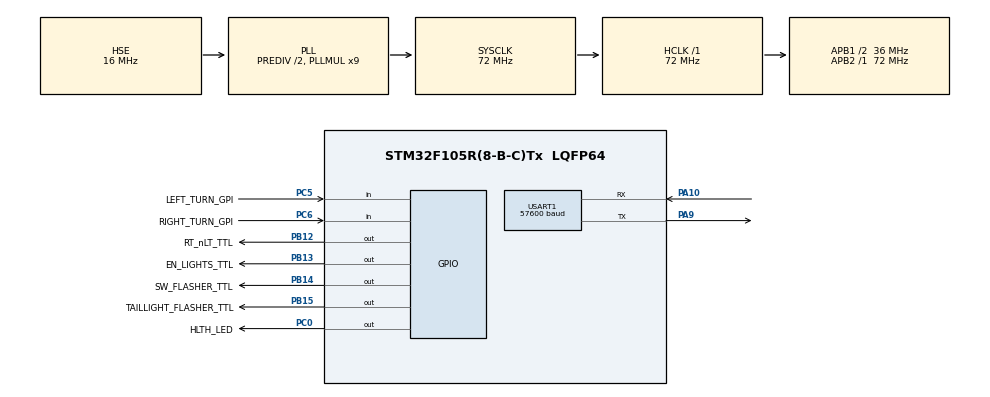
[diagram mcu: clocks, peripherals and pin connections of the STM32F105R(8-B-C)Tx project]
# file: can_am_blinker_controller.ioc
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IWDG.Prescaler=IWDG_PRESCALER_32
IWDG.Reload=1499
Mcu.Family=STM32F1
Mcu.Name=STM32F105R(8-B-C)Tx
Mcu.Package=LQFP64
NVIC.PriorityGroup=NVIC_PRIORITYGROUP_4
NVIC.TIM6_IRQn=true\:0\:0\:false\:false\:true\:true\:true\:true
NVIC.USART1_IRQn=true\:0\:0\:false\:false\:true\:true\:true\:true
PA10.Mode=Asynchronous
PA10.Signal=USART1_RX
PA13.Mode=Trace_Asynchronous_SW
PA13.Signal=SYS_JTMS-SWDIO
PA14.Mode=Trace_Asynchronous_SW
PA14.Signal=SYS_JTCK-SWCLK
PA9.Mode=Asynchronous
PA9.Signal=USART1_TX
PB12.GPIO_Label=RT_nLT_TTL
PB12.Signal=GPIO_Output
PB13.GPIO_Label=EN_LIGHTS_TTL
PB13.Signal=GPIO_Output
PB14.GPIO_Label=SW_FLASHER_TTL
PB14.Signal=GPIO_Output
PB15.GPIO_Label=TAILLIGHT_FLASHER_TTL
PB15.Signal=GPIO_Output
PB3.Mode=Trace_Asynchronous_SW
PB3.Signal=SYS_TRACESWO
PC0.GPIO_Label=HLTH_LED
PC0.Signal=GPIO_Output
PC5.GPIO_Label=LEFT_TURN_GPI
PC5.GPIO_PuPd=GPIO_NOPULL
PC5.Signal=GPIO_Input
PC6.GPIO_Label=RIGHT_TURN_GPI
PC6.GPIO_PuPd=GPIO_NOPULL
PC6.Signal=GPIO_Input
PD0-OSC_IN.GPIO_Label=OSC_IN
PD0-OSC_IN.Mode=HSE-External-Oscillator
PD0-OSC_IN.Signal=RCC_OSC_IN
PD1-OSC_OUT.GPIO_Label=OSC_OUT
PD1-OSC_OUT.Mode=HSE-External-Oscillator
PD1-OSC_OUT.Signal=RCC_OSC_OUT
ProjectManager.HeapSize=0x200
ProjectManager.StackSize=0x400
ProjectManager.TargetToolchain=STM32CubeIDE
RCC.AHBFreq_Value=72000000
RCC.APB1CLKDivider=RCC_HCLK_DIV2
RCC.APB1Freq_Value=36000000
RCC.APB1TimFreq_Value=72000000
RCC.APB2Freq_Value=72000000
RCC.APB2TimFreq_Value=72000000
RCC.HCLKFreq_Value=72000000
RCC.HSEDivPLL=RCC_HSE_PREDIV_DIV2
RCC.HSE_VALUE=16000000
RCC.PLLMUL=RCC_PLL_MUL9
RCC.PLLSourceVirtual=RCC_PLLSOURCE_HSE
RCC.SYSCLKFreq_VALUE=72000000
RCC.SYSCLKSource=RCC_SYSCLKSOURCE_PLLCLK
RCC.USBFreq_Value=48000000
TIM6.AutoReloadPreload=TIM_AUTORELOAD_PRELOAD_ENABLE
TIM6.Period=10000-1
TIM6.Prescaler=72-1
USART1.BaudRate=57600
USART1.VirtualMode=VM_ASYNC
VP_IWDG_VS_IWDG.Mode=IWDG_Activate
VP_TIM1_VS_ClockSourceINT.Mode=Internal
VP_TIM6_VS_ClockSourceINT.Mode=Enable_Timer
board=custom

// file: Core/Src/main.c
/* USER CODE BEGIN Header */
/**
  ******************************************************************************
  * @file           : main.c
  * @brief          : Main program body
  ******************************************************************************
  * @attention
  *
  * <h2><center>&copy; Copyright (c) 2024 STMicroelectronics.
  * All rights reserved.</center></h2>
  *
  * This software component is licensed by ST under BSD 3-Clause license,
  * the "License"; You may not use this file except in compliance with the
  * License. You may obtain a copy of the License at:
  *                        opensource.org/licenses/BSD-3-Clause
  *
  * //TODO: need to set the watchdog back to a normal value
  * //TODO: need to make sure the BAUD rate is set back to 57600
  ******************************************************************************
  */
/* USER CODE END Header */
#include "main.h"

/* USER CODE BEGIN Includes */
#include "main.h"

/* USER CODE END Includes */

/* USER CODE BEGIN PTD */
uart_type        uart;
timing_type      tim;
button_state     but;

/* Initialize STATE properties */
state blinker_state = IDLE;

/* USER CODE END PTD */

IWDG_HandleTypeDef hiwdg;

TIM_HandleTypeDef htim1;
TIM_HandleTypeDef htim6;

UART_HandleTypeDef huart1;

void SystemClock_Config(void);
static void MX_GPIO_Init(void);
static void MX_TIM1_Init(void);
static void MX_TIM6_Init(void);
static void MX_USART1_UART_Init(void);
static void MX_IWDG_Init(void);

int main(void)
{

  /* MCU Configuration--------------------------------------------------------*/

  /* Reset of all peripherals, Initializes the Flash interface and the Systick. */
  HAL_Init();

  /* Configure the system clock */
  SystemClock_Config();

  /* USER CODE BEGIN SysInit */
  /* Initialize UART properties */
  uart.errorflag      = false;
  uart.validmsg       = false;
  uart.msg_state      = STATESTART;
  uart.len_verify     = 0;                        // Initialize length verify counter to 0
  uart.producer_index = 0;                        // Initialize consumer index
  uart.consumer_index = 0;                        // Initialize producer index
  uart.inmenu         = false;                    // Will not start out in console menu

  /* USER CODE END SysInit */

  /* Initialize all configured peripherals */
  MX_GPIO_Init();
  MX_TIM1_Init();
  MX_TIM6_Init();
  MX_USART1_UART_Init();
  MX_IWDG_Init();
  /* USER CODE BEGIN 2 */

  init_timer ();
  HAL_TIM_Base_Start_IT(&htim6);
  HAL_UART_Receive_IT(&huart1, &uart.rxchar, 1); //Needed for interrupt callback.

  /* USER CODE END 2 */

  /* Infinite loop */
  /* USER CODE BEGIN WHILE */
  while (1)
  {

    /**
     * Message handling
     */
    if (uart.byte_counter >= MAX_RX_BUF_INDEX)
    {
      ResetRxBuffer(& uart);                        //Something went wrong, reset the RX buffer.
    }
    else if(uart.consumer_index != uart.producer_index)
    {
      HandleByte(& uart);
    }

    if(tim.flag_10ms_tick)
    {
      tim.flag_10ms_tick = false;
      check_button_states();
    }

    if(tim.flag_100ms_tick)
    {
    	HAL_IWDG_Refresh(&hiwdg);  // Refresh the watchdog.

      tim.flag_100ms_tick = false;

      /**
       * We haven't hit the max "quick flash" count total
       * but we are turning
       **/

      if(but.quick_flash_counts < MAX_NUM_OF_QUICK_FLASHES &&
        blinker_state != IDLE)
      {
        HAL_GPIO_TogglePin(TAILLIGHT_FLASHER_TTL_GPIO_Port, TAILLIGHT_FLASHER_TTL_Pin);
        but.quick_flash_counts++;
      }

    }

    if(tim.flag_500ms_tick)
    {
      tim.flag_500ms_tick = false;
      HAL_GPIO_TogglePin(HLTH_LED_GPIO_Port, HLTH_LED_Pin);   // Board LED

      /**
       * We need not worry about disabling the lights,
       * as they are disabled elsewhere in this code
       *
       */

      /**
       * The switch flash rate is always at this rate
       * It will only flash if the switch is in the correct position
       * thus this output can continuously toggle
       **/
      HAL_GPIO_TogglePin(SW_FLASHER_TTL_GPIO_Port, SW_FLASHER_TTL_Pin);

      if(but.quick_flash_counts >= MAX_NUM_OF_QUICK_FLASHES)
      {
        HAL_GPIO_TogglePin(TAILLIGHT_FLASHER_TTL_GPIO_Port, TAILLIGHT_FLASHER_TTL_Pin);
      }

    }

  }
    /* USER CODE END WHILE */

}

void SystemClock_Config(void)
{
  RCC_OscInitTypeDef RCC_OscInitStruct = {0};
  RCC_ClkInitTypeDef RCC_ClkInitStruct = {0};

  /** Initializes the RCC Oscillators according to the specified parameters
  * in the RCC_OscInitTypeDef structure.
  */
  RCC_OscInitStruct.OscillatorType = RCC_OSCILLATORTYPE_LSI|RCC_OSCILLATORTYPE_HSE;
  RCC_OscInitStruct.HSEState = RCC_HSE_ON;
  RCC_OscInitStruct.HSEPredivValue = RCC_HSE_PREDIV_DIV2;
  RCC_OscInitStruct.HSIState = RCC_HSI_ON;
  RCC_OscInitStruct.LSIState = RCC_LSI_ON;
  RCC_OscInitStruct.Prediv1Source = RCC_PREDIV1_SOURCE_HSE;
  RCC_OscInitStruct.PLL.PLLState = RCC_PLL_ON;
  RCC_OscInitStruct.PLL.PLLSource = RCC_PLLSOURCE_HSE;
  RCC_OscInitStruct.PLL.PLLMUL = RCC_PLL_MUL9;
  RCC_OscInitStruct.PLL2.PLL2State = RCC_PLL_NONE;
  if (HAL_RCC_OscConfig(&RCC_OscInitStruct) != HAL_OK)
  {
    Error_Handler();
  }

  /** Initializes the CPU, AHB and APB buses clocks
  */
  RCC_ClkInitStruct.ClockType = RCC_CLOCKTYPE_HCLK|RCC_CLOCKTYPE_SYSCLK
                              |RCC_CLOCKTYPE_PCLK1|RCC_CLOCKTYPE_PCLK2;
  RCC_ClkInitStruct.SYSCLKSource = RCC_SYSCLKSOURCE_PLLCLK;
  RCC_ClkInitStruct.AHBCLKDivider = RCC_SYSCLK_DIV1;
  RCC_ClkInitStruct.APB1CLKDivider = RCC_HCLK_DIV2;
  RCC_ClkInitStruct.APB2CLKDivider = RCC_HCLK_DIV1;

  if (HAL_RCC_ClockConfig(&RCC_ClkInitStruct, FLASH_LATENCY_2) != HAL_OK)
  {
    Error_Handler();
  }

  /** Configure the Systick interrupt time
  */
  __HAL_RCC_PLLI2S_ENABLE();
}

static void MX_IWDG_Init(void)
{

  hiwdg.Instance = IWDG;
  hiwdg.Init.Prescaler = IWDG_PRESCALER_32;
  hiwdg.Init.Reload = 1499;
  if (HAL_IWDG_Init(&hiwdg) != HAL_OK)
  {
    Error_Handler();
  }

}

static void MX_TIM1_Init(void)
{

  TIM_ClockConfigTypeDef sClockSourceConfig = {0};
  TIM_MasterConfigTypeDef sMasterConfig = {0};

  htim1.Instance = TIM1;
  htim1.Init.Prescaler = 0;
  htim1.Init.CounterMode = TIM_COUNTERMODE_UP;
  htim1.Init.Period = 65535;
  htim1.Init.ClockDivision = TIM_CLOCKDIVISION_DIV1;
  htim1.Init.RepetitionCounter = 0;
  htim1.Init.AutoReloadPreload = TIM_AUTORELOAD_PRELOAD_DISABLE;
  if (HAL_TIM_Base_Init(&htim1) != HAL_OK)
  {
    Error_Handler();
  }
  sClockSourceConfig.ClockSource = TIM_CLOCKSOURCE_INTERNAL;
  if (HAL_TIM_ConfigClockSource(&htim1, &sClockSourceConfig) != HAL_OK)
  {
    Error_Handler();
  }
  sMasterConfig.MasterOutputTrigger = TIM_TRGO_RESET;
  sMasterConfig.MasterSlaveMode = TIM_MASTERSLAVEMODE_DISABLE;
  if (HAL_TIMEx_MasterConfigSynchronization(&htim1, &sMasterConfig) != HAL_OK)
  {
    Error_Handler();
  }

}

static void MX_TIM6_Init(void)
{

  TIM_MasterConfigTypeDef sMasterConfig = {0};

  htim6.Instance = TIM6;
  htim6.Init.Prescaler = 72-1;
  htim6.Init.CounterMode = TIM_COUNTERMODE_UP;
  htim6.Init.Period = 10000-1;
  htim6.Init.AutoReloadPreload = TIM_AUTORELOAD_PRELOAD_ENABLE;
  if (HAL_TIM_Base_Init(&htim6) != HAL_OK)
  {
    Error_Handler();
  }
  sMasterConfig.MasterOutputTrigger = TIM_TRGO_RESET;
  sMasterConfig.MasterSlaveMode = TIM_MASTERSLAVEMODE_DISABLE;
  if (HAL_TIMEx_MasterConfigSynchronization(&htim6, &sMasterConfig) != HAL_OK)
  {
    Error_Handler();
  }

}

static void MX_USART1_UART_Init(void)
{

  huart1.Instance = USART1;
  huart1.Init.BaudRate = 57600;
  huart1.Init.WordLength = UART_WORDLENGTH_8B;
  huart1.Init.StopBits = UART_STOPBITS_1;
  huart1.Init.Parity = UART_PARITY_NONE;
  huart1.Init.Mode = UART_MODE_TX_RX;
  huart1.Init.HwFlowCtl = UART_HWCONTROL_NONE;
  huart1.Init.OverSampling = UART_OVERSAMPLING_16;
  if (HAL_UART_Init(&huart1) != HAL_OK)
  {
    Error_Handler();
  }

}

static void MX_GPIO_Init(void)
{
  GPIO_InitTypeDef GPIO_InitStruct = {0};

  /* GPIO Ports Clock Enable */
  __HAL_RCC_GPIOD_CLK_ENABLE();
  __HAL_RCC_GPIOC_CLK_ENABLE();
  __HAL_RCC_GPIOB_CLK_ENABLE();
  __HAL_RCC_GPIOA_CLK_ENABLE();

  /*Configure GPIO pin Output Level */
  HAL_GPIO_WritePin(HLTH_LED_GPIO_Port, HLTH_LED_Pin, GPIO_PIN_RESET);

  /*Configure GPIO pin Output Level */
  HAL_GPIO_WritePin(GPIOB, RT_nLT_TTL_Pin|EN_LIGHTS_TTL_Pin|SW_FLASHER_TTL_Pin|TAILLIGHT_FLASHER_TTL_Pin, GPIO_PIN_RESET);

  /*Configure GPIO pin : HLTH_LED_Pin */
  GPIO_InitStruct.Pin = HLTH_LED_Pin;
  GPIO_InitStruct.Mode = GPIO_MODE_OUTPUT_PP;
  GPIO_InitStruct.Pull = GPIO_NOPULL;
  GPIO_InitStruct.Speed = GPIO_SPEED_FREQ_LOW;
  HAL_GPIO_Init(HLTH_LED_GPIO_Port, &GPIO_InitStruct);

  /*Configure GPIO pins : LEFT_TURN_GPI_Pin RIGHT_TURN_GPI_Pin */
  GPIO_InitStruct.Pin = LEFT_TURN_GPI_Pin|RIGHT_TURN_GPI_Pin;
  GPIO_InitStruct.Mode = GPIO_MODE_INPUT;
  GPIO_InitStruct.Pull = GPIO_NOPULL;
  HAL_GPIO_Init(GPIOC, &GPIO_InitStruct);

  /*Configure GPIO pins : RT_nLT_TTL_Pin EN_LIGHTS_TTL_Pin SW_FLASHER_TTL_Pin TAILLIGHT_FLASHER_TTL_Pin */
  GPIO_InitStruct.Pin = RT_nLT_TTL_Pin|EN_LIGHTS_TTL_Pin|SW_FLASHER_TTL_Pin|TAILLIGHT_FLASHER_TTL_Pin;
  GPIO_InitStruct.Mode = GPIO_MODE_OUTPUT_PP;
  GPIO_InitStruct.Pull = GPIO_NOPULL;
  GPIO_InitStruct.Speed = GPIO_SPEED_FREQ_LOW;
  HAL_GPIO_Init(GPIOB, &GPIO_InitStruct);

}

/* USER CODE BEGIN 4 */

/********************************************//**
*  @brief Initialize timer events
***********************************************/
void init_timer ( void ) {
  tim.led_fast_blink = false;
  tim.flag_10ms_tick = false;
  tim.flag_100ms_tick = false;
  tim.flag_500ms_tick = false;
  tim.ticks10ms = 0;
  tim.ticks100ms = 0;
  tim.ticks500ms = 0;

  tim.timer_100ms_running = false;
  tim.timer_100ms_cntr = 0;

}

/********************************************//**
*  @brief Initialize button properties
***********************************************/
void init_button_states ( void ) {
  but.left_turn_active   = false;
  but.right_turn_active  = false;

  but.left_turn_debounce_counter = 0;
  but.right_turn_debounce_counter = 0;
}

/**********************************************
 *  @brief Function for checking switch status
 ***********************************************/
void check_button_states( void )
{

  /**
   * Case where button is in neutral position
   */
  if( !HAL_GPIO_ReadPin(LEFT_TURN_GPI_GPIO_Port, LEFT_TURN_GPI_Pin) &&
      !HAL_GPIO_ReadPin(RIGHT_TURN_GPI_GPIO_Port, RIGHT_TURN_GPI_Pin)) {

    but.left_turn_debounce_counter  = 0;
    but.right_turn_debounce_counter = 0;
    but.quick_flash_counts          = 0;

    /* Set the state to idle */
    blinker_state = IDLE;

    /* Verify the outputs are inactive */
    HAL_GPIO_WritePin(EN_LIGHTS_TTL_GPIO_Port, EN_LIGHTS_TTL_Pin, false);
    HAL_GPIO_WritePin(RT_nLT_TTL_GPIO_Port, RT_nLT_TTL_Pin, false);

  }

  /**
   * See if either Left or Right is selected
   * and then increase the debounce counter appropriately
   */
  else {
    if(HAL_GPIO_ReadPin(LEFT_TURN_GPI_GPIO_Port, LEFT_TURN_GPI_Pin)){
      but.left_turn_debounce_counter ++;
    }
    if(HAL_GPIO_ReadPin(RIGHT_TURN_GPI_GPIO_Port, RIGHT_TURN_GPI_Pin)){
      but.right_turn_debounce_counter ++;
    }
  }

  /**
   * Left turn input surpassed
   * debounce filter
   */
  if(but.left_turn_debounce_counter >= BUTTON_DEBOUNCE_MSX10){
    but.left_turn_active = true;
    but.left_turn_debounce_counter = 0;
    blinker_state = LEFT_TURN;

    /* Define pin states to correctly illuminate the taillight flasher */
    HAL_GPIO_WritePin(EN_LIGHTS_TTL_GPIO_Port, EN_LIGHTS_TTL_Pin, true);
    HAL_GPIO_WritePin(RT_nLT_TTL_GPIO_Port, RT_nLT_TTL_Pin, false);

  }

  /**
   * Right turn input surpassed
   * debounce filter
   */
  else if (but.right_turn_debounce_counter >= BUTTON_DEBOUNCE_MSX10) {
    but.right_turn_active = true;
    but.right_turn_debounce_counter = 0;
    blinker_state = RIGHT_TURN;

    /* Define pin states to correctly illuminate the taillight flasher */
    HAL_GPIO_WritePin(EN_LIGHTS_TTL_GPIO_Port, EN_LIGHTS_TTL_Pin, true);
    HAL_GPIO_WritePin(RT_nLT_TTL_GPIO_Port, RT_nLT_TTL_Pin, true);
  }

}

/********************************************//**
*  @brief Handle Timer Interrupts
***********************************************/
void HAL_TIM_PeriodElapsedCallback(TIM_HandleTypeDef *htim) {
	if(htim == &htim6){
			tim.flag_10ms_tick = true;

		 if(tim.ticks10ms == 9) {
		   tim.ticks10ms = 0;
		   tim.flag_100ms_tick = true;
       if(tim.timer_100ms_running) {
        tim.timer_100ms_cntr++;
       }
       else {
        tim.timer_100ms_cntr = 0;
       }

		   if(tim.ticks100ms == 4) {
			 tim.ticks100ms = 0;
			 tim.flag_500ms_tick = true;

			 if(tim.ticks500ms == 119)										// One minute worth of half seconds
			   tim.ticks500ms = 0;
			 else
			   tim.ticks500ms += 1;
		   }
		   else {
			   tim.ticks100ms += 1;
		   }
		 }
		 else {
		   tim.ticks10ms += 1;
		 }

		}
}

/**********************************************
 *  @brief Handle UART RX interrupts
 ***********************************************/
void HAL_UART_RxCpltCallback(UART_HandleTypeDef *huart) {
  if(huart == &huart1) {

    uart.rxbuf[uart.producer_index] = uart.rxchar;          // Load this byte into rx buffer
    uart.byte_counter++;                                                   //Increase data counter
    (uart.producer_index >= MAX_RX_BUF_INDEX) ? (uart.producer_index = 0):(uart.producer_index++);
		HAL_UART_Receive_IT(&huart1, &uart.rxchar, 1);
	}
}

/* USER CODE END 4 */

void Error_Handler(void)
{
  __disable_irq();
  while (1)
  {
  }
}
